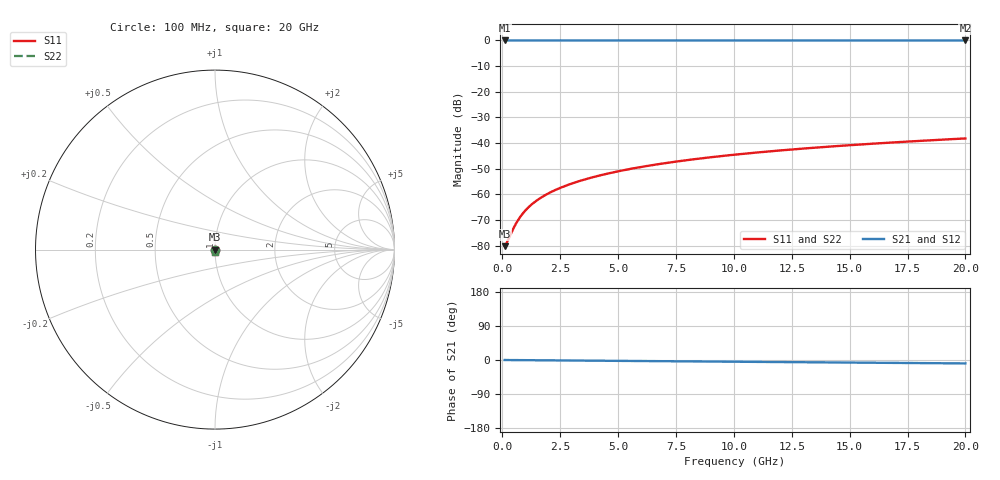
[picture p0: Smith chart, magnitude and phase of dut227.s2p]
! Touchstone file exported from HFSS 2026.1.0
!  File:  C:/ffzhzh/LocalFiles/Ansys_Project_Files/temp_train_TSV_227_1782992310_45328.aedt
!  Generated:  07:40:05 PM Jul  2, 2026
!  Design:  TSV
!  Project:  temp_train_TSV_227_1782992310_45328
! Variables:
!  h_bsmrdl = 2um
!  h_ox = 20um
!  h_rdl = 5um
!  h_sub = 91.5um
!  h_tmrdl = 5um
!  h_tsv = 91.5um
!  h_via = 3um
!  l_bsmrdl = 300um
!  l_sub = 426.02um
!  l_tmrdl = 200um
!  m_sub = 200um
!  pitch = 48.31um
!  r_tsv = 13.01um
!  s_tmrdl = 10um
!  w_bsmrdl = 18um
!  w_sub = 500um
!  w_tmrdl = 12um
!  x_tsv_center1 = 206um
!  x_tsv_center2 = 524um
!  x_tsv_center3 = 736um
!  x_tsv_center4 = 1054um
!  x_tsv_center5 = 1266um
!  x_tsv_center6 = 1584um
# GHz S MA R 50.000000
! Terminal data exported
! Port[1] = TSV1_1_T1
! Port[2] = TSV1_1_T2
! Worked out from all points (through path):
!   200 points, 100 MHz to 20 GHz, reference 50 ohm
!   highest |S21| = 0.00 dB at 100 MHz (marker M1); lowest = 0.0 dB at 20 GHz (marker M2)
!   group delay of S21, straight-line fit = 1.25 ps
!   lowest |S11| = -80.2 dB at 100 MHz (marker M3), VSWR 1.00, Z = 50 - j0.00141 ohm
!   |S11| at or under -10 dB: start of sweep to end of sweep
!   |S22| runs from -80.2 to -38.2 dB; largest |S21 - S12| = 1.2e-15
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0.1  9.717e-05 -8.3  0.9999 -0.0  0.9999 -0.0  9.717e-05 -8.3
! Gamma 0 0 0 0
! Port Impedance 50 0 50 0
0.2  0.0001155 -16.1  0.9999 -0.1  0.9999 -0.1  0.0001155 -16.1
0.5  0.0002245 -34.8  0.9998 -0.2  0.9998 -0.2  0.0002245 -34.8
0.6  0.0002722 -39.6  0.9998 -0.3  0.9998 -0.3  0.0002722 -39.6
0.7  0.0003228 -43.8  0.9998 -0.3  0.9998 -0.3  0.0003228 -43.8
0.8  0.0003755 -47.5  0.9997 -0.4  0.9997 -0.4  0.0003755 -47.5
1  0.0004842 -53.4  0.9997 -0.5  0.9997 -0.5  0.0004842 -53.4
1.3  0.0006512 -59.9  0.9997 -0.6  0.9997 -0.6  0.0006512 -59.9
1.7  0.0008762 -65.6  0.9996 -0.8  0.9996 -0.8  0.0008762 -65.6
2.2  0.001159 -70.2  0.9996 -1.0  0.9996 -1.0  0.001159 -70.2
2.8  0.001502 -73.6  0.9995 -1.3  0.9995 -1.3  0.001502 -73.6
3.5  0.001909 -76.3  0.9995 -1.6  0.9995 -1.6  0.001909 -76.3
4.2  0.002321 -78.2  0.9994 -1.9  0.9994 -1.9  0.002321 -78.2
5  0.002801 -79.9  0.9994 -2.3  0.9994 -2.3  0.002801 -79.9
5.9  0.003347 -81.4  0.9993 -2.7  0.9993 -2.7  0.003347 -81.4
6.8  0.003901 -82.6  0.9993 -3.1  0.9993 -3.1  0.003901 -82.6
8.3  0.004832 -84.4  0.9992 -3.8  0.9992 -3.8  0.004832 -84.4
10.1  0.005959 -86.3  0.9991 -4.6  0.9991 -4.6  0.005959 -86.3
11.7  0.006966 -87.7  0.9991 -5.3  0.9991 -5.3  0.006966 -87.7
13.4  0.008041 -89.0  0.999 -6.1  0.999 -6.1  0.008041 -89.0
16.7  0.01014 -91.3  0.9988 -7.5  0.9988 -7.5  0.01014 -91.3
20  0.01227 -93.3  0.9987 -9.0  0.9987 -9.0  0.01227 -93.3
